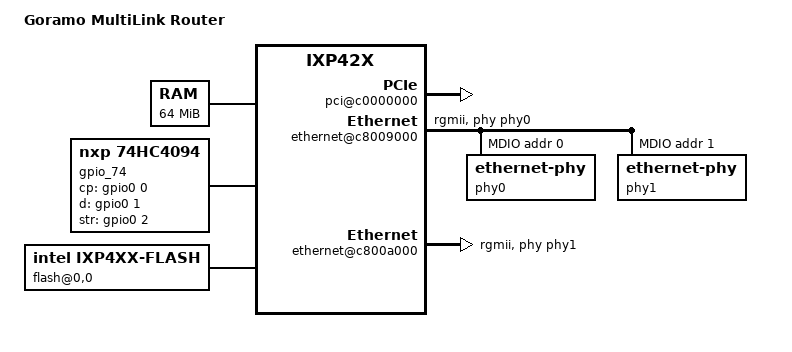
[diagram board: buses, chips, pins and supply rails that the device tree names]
// SPDX-License-Identifier: ISC
/*
 * Device Tree file for the Goramo MultiLink Router
 * There are two variants:
 * - MultiLink Basic (a box)
 * - MultiLink Max (19" rack mount)
 * This device tree supports MultiLink Basic.
 * This machine is based on IXP425.
 * This is one of the few devices supporting the IXP4xx High-Speed Serial
 * (HSS) link for a V.35 WAN interface.
 * The hardware originates in Poland.
 */

/dts-v1/;

#include "intel-ixp42x.dtsi"
#include <dt-bindings/input/input.h>

/ {
	model = "Goramo MultiLink Router";
	compatible = "goramo,multilink-router", "intel,ixp42x";
	#address-cells = <1>;
	#size-cells = <1>;

	memory@0 {
		/*
		 * 64 MB of RAM according to the manual. The MultiLink
		 * Max has 128 MB.
		 */
		device_type = "memory";
		reg = <0x00000000 0x4000000>;
	};

	chosen {
		bootargs = "console=ttyS0,115200n8";
		stdout-path = "uart0:115200n8";
	};

	aliases {
		serial0 = &uart0;
		serial1 = &uart1;
	};

	/*
	 * 74HC4094 which is used as a rudimentary GPIO expander
	 * FIXME:
	 * - Create device tree bindings for this as GPIO expander
	 * - Write a pure DT GPIO driver using these bindings
	 * - Support cascading in the style of gpio-74x164.c (cannot be reused, very different)
	 */
	gpio_74: gpio-74hc4094 {
		compatible = "nxp,74hc4094";
		cp-gpios = <&gpio0 0 GPIO_ACTIVE_HIGH>;
		d-gpios = <&gpio0 1 GPIO_ACTIVE_HIGH>;
		str-gpios = <&gpio0 2 GPIO_ACTIVE_HIGH>;
		/* oe-gpios is optional */
		gpio-controller;
		#gpio-cells = <2>;
		/* We are not cascaded */
		registers-number = <1>;
		gpio-line-names = "CONTROL_HSS0_CLK_INT", "CONTROL_HSS1_CLK_INT", "CONTROL_HSS0_DTR_N",
				"CONTROL_HSS1_DTR_N", "CONTROL_EXT", "CONTROL_AUTO_RESET",
				"CONTROL_PCI_RESET_N", "CONTROL_EEPROM_WC_N";
	};

	soc {
		bus@c4000000 {
			flash@0,0 {
				compatible = "intel,ixp4xx-flash", "cfi-flash";
				bank-width = <2>;
				/* Enable writes on the expansion bus */
				intel,ixp4xx-eb-write-enable = <1>;
				/* 16 MB of Flash mapped in at CS0 */
				reg = <0 0x00000000 0x1000000>;

				partitions {
					compatible = "redboot-fis";
					/* Eraseblock at 0x0fe0000 */
					fis-index-block = <0x7f>;
				};
			};
		};

		pci@c0000000 {
			status = "ok";

			/*
			 * The device has 4 slots (IDSEL) with one dedicated IRQ per slot.
			 * The slots have Ethernet, Ethernet, NEC and MPCI.
			 * The IDSELs are 11, 12, 13, 14.
			 */
			interrupt-map =
			/* IDSEL 11 - Ethernet A */
			<0x5800 0 0 1 &gpio0 4 IRQ_TYPE_LEVEL_LOW>, /* INT A on slot 11 is irq 4 */
			<0x5800 0 0 2 &gpio0 4 IRQ_TYPE_LEVEL_LOW>, /* INT B on slot 11 is irq 4 */
			<0x5800 0 0 3 &gpio0 4 IRQ_TYPE_LEVEL_LOW>, /* INT C on slot 11 is irq 4 */
			<0x5800 0 0 4 &gpio0 4 IRQ_TYPE_LEVEL_LOW>, /* INT D on slot 11 is irq 4 */
			/* IDSEL 12 - Ethernet B */
			<0x6000 0 0 1 &gpio0 5 IRQ_TYPE_LEVEL_LOW>, /* INT A on slot 12 is irq 5 */
			<0x6000 0 0 2 &gpio0 5 IRQ_TYPE_LEVEL_LOW>, /* INT B on slot 12 is irq 5 */
			<0x6000 0 0 3 &gpio0 5 IRQ_TYPE_LEVEL_LOW>, /* INT C on slot 12 is irq 5 */
			<0x6000 0 0 4 &gpio0 5 IRQ_TYPE_LEVEL_LOW>, /* INT D on slot 12 is irq 5 */
			/* IDSEL 13 - MPCI */
			<0x6800 0 0 1 &gpio0 12 IRQ_TYPE_LEVEL_LOW>, /* INT A on slot 13 is irq 12 */
			<0x6800 0 0 2 &gpio0 12 IRQ_TYPE_LEVEL_LOW>, /* INT B on slot 13 is irq 12 */
			<0x6800 0 0 3 &gpio0 12 IRQ_TYPE_LEVEL_LOW>, /* INT C on slot 13 is irq 12 */
			<0x6800 0 0 4 &gpio0 12 IRQ_TYPE_LEVEL_LOW>, /* INT D on slot 13 is irq 12 */
			/* IDSEL 14 - NEC */
			<0x7000 0 0 1 &gpio0 3 IRQ_TYPE_LEVEL_LOW>, /* INT A on slot 14 is irq 3 */
			<0x7000 0 0 2 &gpio0 3 IRQ_TYPE_LEVEL_LOW>, /* INT B on slot 14 is irq 3 */
			<0x7000 0 0 3 &gpio0 3 IRQ_TYPE_LEVEL_LOW>, /* INT C on slot 14 is irq 3 */
			<0x7000 0 0 4 &gpio0 3 IRQ_TYPE_LEVEL_LOW>; /* INT D on slot 14 is irq 3 */
		};

		/* HSS links */
		npe@c8006000 {
			hss@0 {
				status = "okay";
				intel,queue-chl-rxtrig = <&qmgr 12>;
				intel,queue-chl-txready = <&qmgr 34>;
				intel,queue-pkt-rx = <&qmgr 13>;
				intel,queue-pkt-tx = <&qmgr 14>, <&qmgr 15>, <&qmgr 16>, <&qmgr 17>;
				intel,queue-pkt-rxfree = <&qmgr 18>, <&qmgr 19>, <&qmgr 20>, <&qmgr 21>;
				intel,queue-pkt-txdone = <&qmgr 22>;
				/* The Goramo GPIO-based clock etc control */
				cts-gpios = <&gpio0 10 GPIO_ACTIVE_LOW>;
				rts-gpios = <&gpio0 14 GPIO_ACTIVE_LOW>;
				dcd-gpios = <&gpio0 6 GPIO_ACTIVE_LOW>;
				dtr-gpios = <&gpio_74 2 GPIO_ACTIVE_LOW>;
				clk-internal-gpios = <&gpio_74 0 GPIO_ACTIVE_HIGH>;
			};
			hss@1 {
				status = "okay";
				intel,queue-chl-rxtrig = <&qmgr 10>;
				intel,queue-chl-txready = <&qmgr 35>;
				intel,queue-pkt-rx = <&qmgr 0>;
				intel,queue-pkt-tx = <&qmgr 5>, <&qmgr 6>, <&qmgr 7>, <&qmgr 8>;
				intel,queue-pkt-rxfree = <&qmgr 1>, <&qmgr 2>, <&qmgr 3>, <&qmgr 4>;
				intel,queue-pkt-txdone = <&qmgr 9>;
				/* The Goramo GPIO-based clock etc control */
				cts-gpios = <&gpio0 11 GPIO_ACTIVE_LOW>;
				rts-gpios = <&gpio0 13 GPIO_ACTIVE_LOW>;
				dcd-gpios = <&gpio0 7 GPIO_ACTIVE_LOW>;
				dtr-gpios = <&gpio_74 3 GPIO_ACTIVE_LOW>;
				clk-internal-gpios = <&gpio_74 1 GPIO_ACTIVE_HIGH>;
			};
		};

		/* EthB */
		ethernet@c8009000 {
			status = "ok";
			queue-rx = <&qmgr 3>;
			queue-txready = <&qmgr 32>;
			phy-mode = "rgmii";
			phy-handle = <&phy0>;

			mdio {
				#address-cells = <1>;
				#size-cells = <0>;

				phy0: ethernet-phy@0 {
					reg = <0>;
				};

				phy1: ethernet-phy@1 {
					reg = <1>;
				};
			};
		};

		/* EthC */
		ethernet@c800a000 {
			status = "ok";
			queue-rx = <&qmgr 4>;
			queue-txready = <&qmgr 33>;
			phy-mode = "rgmii";
			phy-handle = <&phy1>;
		};
	};
};
